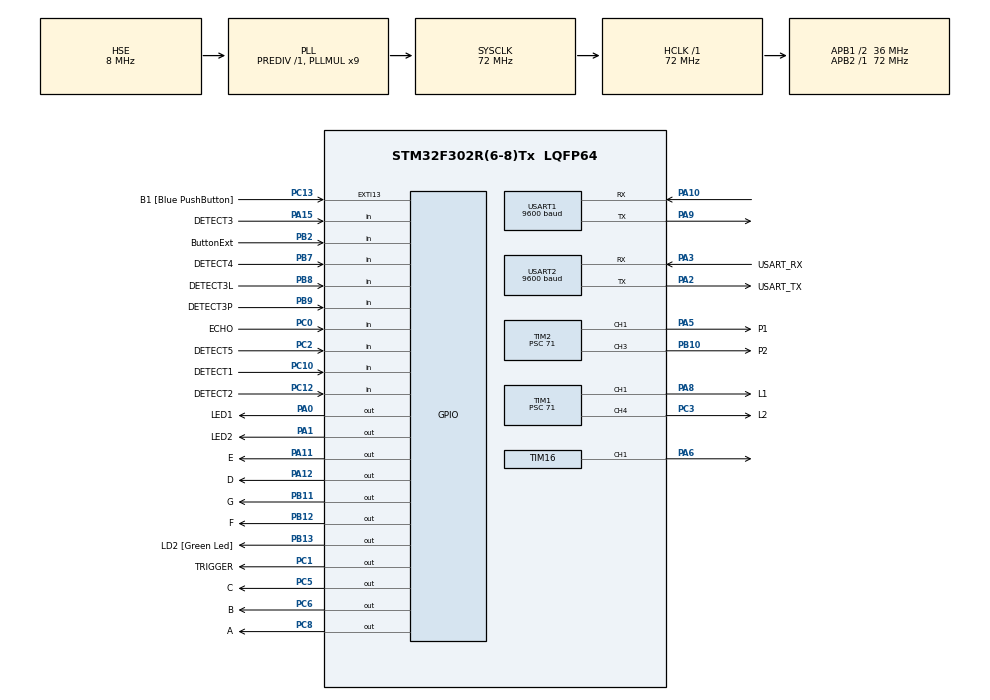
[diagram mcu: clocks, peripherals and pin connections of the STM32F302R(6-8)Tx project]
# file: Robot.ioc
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Mcu.Family=STM32F3
Mcu.Name=STM32F302R(6-8)Tx
Mcu.Package=LQFP64
NVIC.PriorityGroup=NVIC_PRIORITYGROUP_0
NVIC.TIM1_BRK_TIM15_IRQn=true\:0\:0\:false\:false\:true\:true\:true\:true
NVIC.TIM1_TRG_COM_TIM17_IRQn=true\:0\:0\:false\:false\:true\:true\:true\:true
NVIC.USART1_IRQn=true\:0\:0\:false\:false\:true\:true\:true\:true
NVIC.USART2_IRQn=true\:0\:0\:false\:false\:true\:true\:true\:true
PA0.GPIO_Label=LED1
PA0.Signal=GPIO_Output
PA1.GPIO_Label=LED2
PA1.Signal=GPIO_Output
PA10.Mode=Asynchronous
PA10.Signal=USART1_RX
PA11.GPIO_Label=E
PA11.Signal=GPIO_Output
PA12.GPIO_Label=D
PA12.Signal=GPIO_Output
PA13.GPIO_Label=TMS
PA13.Mode=Serial_Wire
PA13.Signal=SYS_JTMS-SWDIO
PA14.GPIO_Label=TCK
PA14.Mode=Serial_Wire
PA14.Signal=SYS_JTCK-SWCLK
PA15.GPIO_Label=DETECT3
PA15.Signal=GPIO_Input
PA2.GPIO_Label=USART_TX
PA2.GPIO_Mode=GPIO_MODE_AF_PP
PA2.GPIO_PuPd=GPIO_NOPULL
PA2.GPIO_Speed=GPIO_SPEED_FREQ_LOW
PA2.Mode=Asynchronous
PA2.Signal=USART2_TX
PA3.GPIO_Label=USART_RX
PA3.GPIO_Mode=GPIO_MODE_AF_PP
PA3.GPIO_PuPd=GPIO_NOPULL
PA3.GPIO_Speed=GPIO_SPEED_FREQ_LOW
PA3.Mode=Asynchronous
PA3.Signal=USART2_RX
PA5.GPIO_Label=P1
PA5.Signal=S_TIM2_CH1_ETR
PA6.Signal=S_TIM16_CH1
PA8.GPIO_Label=L1
PA8.Signal=S_TIM1_CH1
PA9.Mode=Asynchronous
PA9.Signal=USART1_TX
PB10.GPIO_Label=P2
PB10.Signal=S_TIM2_CH3
PB11.GPIO_Label=G
PB11.Signal=GPIO_Output
PB12.GPIO_Label=F
PB12.Signal=GPIO_Output
PB13.GPIO_Label=LD2 [Green Led]
PB13.Signal=GPIO_Output
PB2.GPIO_Label=ButtonExt
PB2.Signal=GPIO_Input
PB3.GPIO_Label=SWO
PB3.Mode=Trace_Asynchronous_SW
PB3.Signal=SYS_JTDO-TRACESWO
PB7.GPIO_Label=DETECT4
PB7.Signal=GPIO_Input
PB8.GPIO_Label=DETECT3L
PB8.Signal=GPIO_Input
PB9.GPIO_Label=DETECT3P
PB9.Signal=GPIO_Input
PC0.GPIO_Label=ECHO
PC0.Signal=GPIO_Input
PC1.GPIO_Label=TRIGGER
PC1.Signal=GPIO_Output
PC10.GPIO_Label=DETECT1
PC10.Signal=GPIO_Input
PC12.GPIO_Label=DETECT2
PC12.Signal=GPIO_Input
PC13.GPIO_Label=B1 [Blue PushButton]
PC13.GPIO_ModeDefaultEXTI=GPIO_MODE_IT_FALLING
PC13.Signal=GPXTI13
PC14\ -\ OSC32_IN.Signal=RCC_OSC32_IN
PC15\ -\ OSC32_OUT.Signal=RCC_OSC32_OUT
PC2.GPIO_Label=DETECT5
PC2.Signal=GPIO_Input
PC3.GPIO_Label=L2
PC3.Signal=S_TIM1_CH4
PC5.GPIO_Label=C
PC5.Signal=GPIO_Output
PC6.GPIO_Label=B
PC6.Signal=GPIO_Output
PC8.GPIO_Label=A
PC8.Signal=GPIO_Output
PF0-OSC_IN.Mode=HSE-External-Oscillator
PF0-OSC_IN.Signal=RCC_OSC_IN
PF1-OSC_OUT.Mode=HSE-External-Oscillator
PF1-OSC_OUT.Signal=RCC_OSC_OUT
ProjectManager.HeapSize=0x200
ProjectManager.StackSize=0x400
ProjectManager.TargetToolchain=STM32CubeIDE
RCC.AHBFreq_Value=72000000
RCC.APB1CLKDivider=RCC_HCLK_DIV2
RCC.APB1Freq_Value=36000000
RCC.APB1TimFreq_Value=72000000
RCC.APB2Freq_Value=72000000
RCC.APB2TimFreq_Value=72000000
RCC.CortexFreq_Value=72000000
RCC.HCLKFreq_Value=72000000
RCC.HSE_VALUE=8000000
RCC.HSI_VALUE=8000000
RCC.LSE_VALUE=32768
RCC.PLLM=8
RCC.PLLMUL=RCC_PLL_MUL9
RCC.PLLN=336
RCC.PLLP=RCC_PLLP_DIV4
RCC.PLLQ=7
RCC.PLLSourceVirtual=RCC_PLLSOURCE_HSE
RCC.SYSCLKFreq_VALUE=72000000
RCC.SYSCLKSourceVirtual=RCC_SYSCLKSOURCE_PLLCLK
RCC.USBFreq_Value=72000000
SH.S_TIM16_CH1.0=TIM16_CH1,PWM Generation1 CH1
SH.S_TIM1_CH1.0=TIM1_CH1,PWM Generation1 CH1
SH.S_TIM1_CH4.0=TIM1_CH4,PWM Generation4 CH4
SH.S_TIM2_CH1_ETR.0=TIM2_CH1,PWM Generation1 CH1
SH.S_TIM2_CH3.0=TIM2_CH3,PWM Generation3 CH3
TIM1.Channel-PWM\ Generation1\ CH1=TIM_CHANNEL_1
TIM1.Channel-PWM\ Generation4\ CH4=TIM_CHANNEL_4
TIM1.Prescaler=71
TIM16.AutoReloadPreload=TIM_AUTORELOAD_PRELOAD_ENABLE
TIM16.Channel=TIM_CHANNEL_1
TIM16.Period=19999
TIM16.Prescaler=71
TIM17.Prescaler=71
TIM2.Channel-PWM\ Generation1\ CH1=TIM_CHANNEL_1
TIM2.Channel-PWM\ Generation3\ CH3=TIM_CHANNEL_3
TIM2.Period=65535
TIM2.Prescaler=71
USART1.BaudRate=9600
USART1.VirtualMode-Asynchronous=VM_ASYNC
USART2.BaudRate=9600
USART2.VirtualMode-Asynchronous=VM_ASYNC
VP_TIM16_VS_ClockSourceINT.Mode=Enable_Timer
VP_TIM17_VS_ClockSourceINT.Mode=Enable_Timer
VP_TIM1_VS_ClockSourceINT.Mode=Internal
board=NUCLEO-F302R8

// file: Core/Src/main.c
/* USER CODE BEGIN Header */
/**
  ******************************************************************************
  * @file           : main.c
  * @brief          : Main program body
  ******************************************************************************
  * @attention
  *
  * Copyright (c) 2024 STMicroelectronics.
  * All rights reserved.
  *
  * This software is licensed under terms that can be found in the LICENSE file
  * in the root directory of this software component.
  * If no LICENSE file comes with this software, it is provided AS-IS.
  *
  ******************************************************************************
  */
/* USER CODE END Header */
#include "main.h"

/* USER CODE BEGIN Includes */
#include <stdio.h>
#include <string.h>
#include <stdlib.h>
#include <time.h>
/* USER CODE END Includes */

TIM_HandleTypeDef htim1;
TIM_HandleTypeDef htim2;
TIM_HandleTypeDef htim16;
TIM_HandleTypeDef htim17;

UART_HandleTypeDef huart1;
UART_HandleTypeDef huart2;

/* USER CODE BEGIN PV */
/*Variables for object detection*/
uint32_t pMillis;
uint32_t Value1 = 0;
uint32_t Value2 = 0;
uint16_t Distance  = 0;  // cm

/* USER CODE END PV */

void SystemClock_Config(void);
static void MX_GPIO_Init(void);
static void MX_USART2_UART_Init(void);
static void MX_USART1_UART_Init(void);
static void MX_TIM1_Init(void);
static void MX_TIM16_Init(void);
static void MX_TIM2_Init(void);
static void MX_TIM17_Init(void);
/* USER CODE BEGIN PFP */
void detect(uint8_t *detect_states);
void detectObstacle(void);
void motor_forward(uint32_t duty_cycle);
void motor_backward(uint32_t duty_cycle);
void motor_stop(void);
void motor_left(uint32_t duty_cycle);
void motor_right(uint32_t duty_cycle);

/*display*/
void display_reset(void);
void display1(void);
void display2(void);
void display3(void);
void display4(void);
void display5(void);
void display6(void);
void countdown(void);

#define TIM_NO htim16
#define TIM_CH_NO TIM_CHANNEL_1

/* zakresy katowe pracy serwomechanizmu */
#define ANGLE_MIN 0
#define ANGLE_MAX 900
/* zakres PWM */
#define PWM_MIN 1100
#define PWM_MAX 2050
#define NUM_SAMPLES 10
#define STEP ((1000 * (PWM_MAX - PWM_MIN)) / (ANGLE_MAX - ANGLE_MIN))

void set_ang(uint16_t ang, uint8_t mode);
void turnover(uint16_t *axle, uint8_t receivedChar);
void detectMotor(void);
void bluetooth(void);
/* USER CODE END PFP */

/* USER CODE BEGIN 0 */
uint8_t detect_states[5];
uint8_t detect3L;
uint8_t detect3P;
uint16_t axle=0;
uint8_t receivedChar;
uint32_t cycle=32768;
/* USER CODE END 0 */

int main(void)
{

  /* MCU Configuration--------------------------------------------------------*/

  /* Reset of all peripherals, Initializes the Flash interface and the Systick. */
  HAL_Init();

  /* Configure the system clock */
  SystemClock_Config();

  /* Initialize all configured peripherals */
  MX_GPIO_Init();
  MX_USART2_UART_Init();
  MX_USART1_UART_Init();
  MX_TIM1_Init();
  MX_TIM16_Init();
  MX_TIM2_Init();
  MX_TIM17_Init();
  /* USER CODE BEGIN 2 */

  HAL_TIM_Base_Start(&htim1);
  HAL_GPIO_WritePin(TRIGGER_GPIO_Port, TRIGGER_Pin, GPIO_PIN_RESET);  // pull the TRIG pin low
  HAL_TIM_PWM_Start(&htim16, TIM_CHANNEL_1);
  HAL_TIM_PWM_Start(&htim1, TIM_CHANNEL_1);
  HAL_TIM_PWM_Start(&htim1, TIM_CHANNEL_4);
  HAL_TIM_PWM_Start(&htim2, TIM_CHANNEL_1);
  HAL_TIM_PWM_Start(&htim2, TIM_CHANNEL_3);
  /* USER CODE END 2 */

  /* Infinite loop */
  /* USER CODE BEGIN WHILE */
  //set_ang(0, 0);

  uint16_t counter=1;
  uint16_t distance;
  set_ang(450, 0);

  /**/

  srand(time(NULL));

  while (1)
  {

    /* USER CODE END WHILE */

    /* USER CODE BEGIN 3 */
	  if(counter>6){
	  	  	        	counter=1;
	  	  	        }
	  	  if (HAL_GPIO_ReadPin(ButtonExt_GPIO_Port, ButtonExt_Pin) == GPIO_PIN_SET)
	  	      {
	  	        counter++;
	  	        HAL_Delay(500);

	  	      }

	  	  	  display_reset();
	  	      switch (counter)
	  	      {
	  	      case 1:
	  	        display_reset();
	  	        display1();
	  	        if (HAL_GPIO_ReadPin(B1_GPIO_Port, B1_Pin) == GPIO_PIN_RESET)
	  	        {
	  	        	//linefollower niezmodyfikowany nie widzi lini jedzie do tyłu
	  	        	countdown();
	  	        	while(1){
	  	        		detect_states[0] = HAL_GPIO_ReadPin(DETECT1_GPIO_Port, DETECT1_Pin);
	  	        		detect_states[1] = HAL_GPIO_ReadPin(DETECT2_GPIO_Port, DETECT2_Pin);
	  	        		detect_states[2] = HAL_GPIO_ReadPin(DETECT3_GPIO_Port, DETECT3_Pin);
	  	        		detect_states[3] = HAL_GPIO_ReadPin(DETECT4_GPIO_Port, DETECT4_Pin);
	  	        		detect_states[4] = HAL_GPIO_ReadPin(DETECT5_GPIO_Port, DETECT5_Pin);

	  	        		if(detect_states[2]==0)
	  	        		{
	  	        			motor_forward(cycle);
	  	        		}
	  	        		else{
	  	        			if(detect_states[1]==0 || detect_states[0]==0)
	  	        			{
	  	        				motor_left(cycle);
	  	        				set_ang(900, 0);
	  	        			}
	  	        			else if(detect_states[3]==0 || detect_states[4]==0){
	  	        				motor_right(cycle);
	  	        				set_ang(0, 0);
	  	        			}
	  	        			else{
	  	        				motor_backward(cycle);
	  	        				set_ang(450, 0);
	  	        			}
	  	        		}
	  	        	}
	  	        }
	  	        break;
	  	    case 2:
	  	   	  	        display_reset();
	  	   	  	        display2();
	  	   	  	        if (HAL_GPIO_ReadPin(B1_GPIO_Port, B1_Pin) == GPIO_PIN_RESET)
	  	   	  	        {
	  	   	  	        	//linefollower
	  	   	  	        	countdown();
	  	   	  	        	while(1){
	  	   	  	        		detect_states[0] = HAL_GPIO_ReadPin(DETECT1_GPIO_Port, DETECT1_Pin);
	  	   	  	        		detect_states[1] = HAL_GPIO_ReadPin(DETECT2_GPIO_Port, DETECT2_Pin);
	  	   	  	        		detect_states[2] = HAL_GPIO_ReadPin(DETECT3_GPIO_Port, DETECT3_Pin);
	  	   	  	        		detect_states[3] = HAL_GPIO_ReadPin(DETECT4_GPIO_Port, DETECT4_Pin);
	  	   	  	        		detect_states[4] = HAL_GPIO_ReadPin(DETECT5_GPIO_Port, DETECT5_Pin);

	  	   	  	        		//pomoc dla lini nalezy dodac nowe if i dodac 2 funkcje slightleft slightright(funkjce zwiazane z motor)
	  	   	  	        		detect3L=HAL_GPIO_ReadPin(DETECT3L_GPIO_Port, DETECT3L_Pin);
	  	   	  	        		detect3P=HAL_GPIO_ReadPin(DETECT3P_GPIO_Port, DETECT3P_Pin);

	  	   	  	        		if(detect_states[2]==0)
	  	   	  	        		{
	  	   	  	        			motor_forward(cycle);
	  	   	  	        		}
	  	   	  	        		else{
	  	   	  	        			if(detect_states[1]==0 || detect_states[0]==0)
	  	   	  	        			{
	  	   	  	        				motor_left(cycle);
	  	   	  	        				set_ang(900, 0);
	  	   	  	        			}
	  	   	  	        			else if(detect_states[3]==0 || detect_states[4]==0){
	  	   	  	        				motor_right(cycle);
	  	   	  	        				set_ang(0, 0);
	  	   	  	        			}
	  	   	  	        			else if(detect3L==0 && (detect_states[1]==1)){
	  	   	  	        				motor_slight_left(cycle);
	  	   	  	        				set_ang(350,0);
	  	   	  	        			}
	  	   	  	        			else if(detect3P==0 && (detect_states[3]==1)){
	  	   	  	        				motor_slight_right(cycle);
	  	   	  	        				set_ang(550,0);
	  	   	  	        			}
	  	   	  	        			else{
	  	   	  	        				motor_backward(cycle);
	  	   	  	        				set_ang(450, 0);
	  	   	  	        			}
	  	   	  	        		}
	  	   	  	        	}
	  	   	  	        }
	  	   	  	        break;
	  	  case 3:
	  	  	  	        display_reset();
	  	  	  	        display3();
	  	  	  	        if (HAL_GPIO_ReadPin(B1_GPIO_Port, B1_Pin) == GPIO_PIN_RESET)
	  	  	  	        {
	  	  	  	        	//linefollower zmodyfikowany niewidzi linii jedzie w prawo
	  	  	  	        	countdown();
	  	  	  	        	while(1){
	  	  	  	        		detect_states[0] = HAL_GPIO_ReadPin(DETECT1_GPIO_Port, DETECT1_Pin);
	  	  	  	        		detect_states[1] = HAL_GPIO_ReadPin(DETECT2_GPIO_Port, DETECT2_Pin);
	  	  	  	        		detect_states[2] = HAL_GPIO_ReadPin(DETECT3_GPIO_Port, DETECT3_Pin);
	  	  	  	        		detect_states[3] = HAL_GPIO_ReadPin(DETECT4_GPIO_Port, DETECT4_Pin);
	  	  	  	        		detect_states[4] = HAL_GPIO_ReadPin(DETECT5_GPIO_Port, DETECT5_Pin);

	  	  	  	        		if(detect_states[2]==0)
	  	  	  	        		{
	  	  	  	        			motor_forward(cycle);
	  	  	  	        		}
	  	  	  	        		else{
	  	  	  	        			if(detect_states[1]==0 || detect_states[0]==0)
	  	  	  	        			{
	  	  	  	        				motor_left(cycle);
	  	  	  	        				set_ang(900, 0);
	  	  	  	        			}
	  	  	  	        			else if(detect_states[3]==0 || detect_states[4]==0){
	  	  	  	        				motor_right(cycle);
	  	  	  	        				set_ang(0, 0);
	  	  	  	        			}
	  	  	  	        			else{
	  	  	  	        			motor_left(cycle);
	  	  	  	        			set_ang(900, 0);
	  	  	  	        			}
	  	  	  	        		}
	  	  	  	        	}
	  	  	  	        }
	  	  	  	        break;
	  	  	  	  	  case 4:
	  		  	        display_reset();
	  		  	        display4();
	  		  	        if (HAL_GPIO_ReadPin(B1_GPIO_Port, B1_Pin) == GPIO_PIN_RESET)
	  		  	        {
	  		  	        //linefollower zmodyfikowany niewidzi linii jedzie w lewo
	  		  	        	countdown();
	  		  	        	while(1){
	  		  	        		detect_states[0] = HAL_GPIO_ReadPin(DETECT1_GPIO_Port, DETECT1_Pin);
	  		  	        		detect_states[1] = HAL_GPIO_ReadPin(DETECT2_GPIO_Port, DETECT2_Pin);
	  		  	        		detect_states[2] = HAL_GPIO_ReadPin(DETECT3_GPIO_Port, DETECT3_Pin);
	  		  	        		detect_states[3] = HAL_GPIO_ReadPin(DETECT4_GPIO_Port, DETECT4_Pin);
	  		  	        		detect_states[4] = HAL_GPIO_ReadPin(DETECT5_GPIO_Port, DETECT5_Pin);

	  		  	        		if(detect_states[2]==0)
	  		  	        		{
	  		  	        			motor_forward(cycle);
	  		  	        		}
	  		  	        		else{
	  		  	        			if(detect_states[1]==0 || detect_states[0]==0)
	  		  	        			{
	  		  	        				motor_left(cycle);
	  		  	        				set_ang(900, 0);
	  		  	        			}
	  		  	        			else if(detect_states[3]==0 || detect_states[4]==0){
	  		  	        				motor_right(cycle);
	  		  	        				set_ang(0, 0);
	  		  	        			}
	  		  	        			else{
	  		  	        				motor_right(cycle);
	  		  	        				set_ang(0, 0);
	  		  	        			}
	  		  	        		}
	  		  	        	}
	  		  	        }
	  		  	        break;
	  	      case 5:
	  	    	  //sterowanie bluetoothem
	  	    	display_reset();
	  	    	display5();
	  	    	if (HAL_GPIO_ReadPin(B1_GPIO_Port, B1_Pin) == GPIO_PIN_RESET){
	  	    		countdown();
	  	    		display_reset();
	  	    		while(1){
	  	    			bluetooth();
	  	    		}
	  	    	}
	  	        break;
	  	      case 6:
	  	    	//sterowanie po kablu
	  	    	display_reset();
	  	    	display6();
	  	    	if (HAL_GPIO_ReadPin(B1_GPIO_Port, B1_Pin) == GPIO_PIN_RESET){
	  	    		countdown();
	  	    		display_reset();
	  	    		while(1){
	  	    			if(HAL_UART_Receive(&huart2, &receivedChar, 1, 0) == HAL_OK) {
	  	    				if (receivedChar == 's') {
	  	    					set_ang(450, 0);
	  	    					motor_backward(cycle);
	  	    				} else if (receivedChar == 'w') {
	  	    					set_ang(450, 0);
	  	    					motor_forward(cycle);
	  	    				} else if (receivedChar == 'a') {
	  	    					set_ang(900, 0);
	  	    					motor_left(cycle);
	  	    				} else if (receivedChar == 'd') {
	  	    					set_ang(0, 0);
	  	    					motor_right(cycle);
	  	    				} else if (receivedChar == 'q') {
	  	    					set_ang(450, 0);
	  	    					motor_stop();
	  	    				}
	  	    				HAL_Delay(100);
	  	    			}
	  	    		}
	  	    	}
	  	        break;
	  	      }
  }
  /* USER CODE END 3 */
}

void SystemClock_Config(void)
{
  RCC_OscInitTypeDef RCC_OscInitStruct = {0};
  RCC_ClkInitTypeDef RCC_ClkInitStruct = {0};
  RCC_PeriphCLKInitTypeDef PeriphClkInit = {0};

  /** Initializes the RCC Oscillators according to the specified parameters
  * in the RCC_OscInitTypeDef structure.
  */
  RCC_OscInitStruct.OscillatorType = RCC_OSCILLATORTYPE_HSE;
  RCC_OscInitStruct.HSEState = RCC_HSE_ON;
  RCC_OscInitStruct.HSEPredivValue = RCC_HSE_PREDIV_DIV1;
  RCC_OscInitStruct.HSIState = RCC_HSI_ON;
  RCC_OscInitStruct.PLL.PLLState = RCC_PLL_ON;
  RCC_OscInitStruct.PLL.PLLSource = RCC_PLLSOURCE_HSE;
  RCC_OscInitStruct.PLL.PLLMUL = RCC_PLL_MUL9;
  if (HAL_RCC_OscConfig(&RCC_OscInitStruct) != HAL_OK)
  {
    Error_Handler();
  }

  /** Initializes the CPU, AHB and APB buses clocks
  */
  RCC_ClkInitStruct.ClockType = RCC_CLOCKTYPE_HCLK|RCC_CLOCKTYPE_SYSCLK
                              |RCC_CLOCKTYPE_PCLK1|RCC_CLOCKTYPE_PCLK2;
  RCC_ClkInitStruct.SYSCLKSource = RCC_SYSCLKSOURCE_PLLCLK;
  RCC_ClkInitStruct.AHBCLKDivider = RCC_SYSCLK_DIV1;
  RCC_ClkInitStruct.APB1CLKDivider = RCC_HCLK_DIV2;
  RCC_ClkInitStruct.APB2CLKDivider = RCC_HCLK_DIV1;

  if (HAL_RCC_ClockConfig(&RCC_ClkInitStruct, FLASH_LATENCY_2) != HAL_OK)
  {
    Error_Handler();
  }
  PeriphClkInit.PeriphClockSelection = RCC_PERIPHCLK_USART1|RCC_PERIPHCLK_TIM1
                              |RCC_PERIPHCLK_TIM16|RCC_PERIPHCLK_TIM17;
  PeriphClkInit.Usart1ClockSelection = RCC_USART1CLKSOURCE_PCLK1;
  PeriphClkInit.Tim1ClockSelection = RCC_TIM1CLK_HCLK;
  PeriphClkInit.Tim16ClockSelection = RCC_TIM16CLK_HCLK;
  PeriphClkInit.Tim17ClockSelection = RCC_TIM17CLK_HCLK;
  if (HAL_RCCEx_PeriphCLKConfig(&PeriphClkInit) != HAL_OK)
  {
    Error_Handler();
  }
}

static void MX_TIM1_Init(void)
{

  TIM_ClockConfigTypeDef sClockSourceConfig = {0};
  TIM_MasterConfigTypeDef sMasterConfig = {0};
  TIM_OC_InitTypeDef sConfigOC = {0};
  TIM_BreakDeadTimeConfigTypeDef sBreakDeadTimeConfig = {0};

  htim1.Instance = TIM1;
  htim1.Init.Prescaler = 71;
  htim1.Init.CounterMode = TIM_COUNTERMODE_UP;
  htim1.Init.Period = 65535;
  htim1.Init.ClockDivision = TIM_CLOCKDIVISION_DIV1;
  htim1.Init.RepetitionCounter = 0;
  htim1.Init.AutoReloadPreload = TIM_AUTORELOAD_PRELOAD_DISABLE;
  if (HAL_TIM_Base_Init(&htim1) != HAL_OK)
  {
    Error_Handler();
  }
  sClockSourceConfig.ClockSource = TIM_CLOCKSOURCE_INTERNAL;
  if (HAL_TIM_ConfigClockSource(&htim1, &sClockSourceConfig) != HAL_OK)
  {
    Error_Handler();
  }
  if (HAL_TIM_PWM_Init(&htim1) != HAL_OK)
  {
    Error_Handler();
  }
  sMasterConfig.MasterOutputTrigger = TIM_TRGO_RESET;
  sMasterConfig.MasterOutputTrigger2 = TIM_TRGO2_RESET;
  sMasterConfig.MasterSlaveMode = TIM_MASTERSLAVEMODE_DISABLE;
  if (HAL_TIMEx_MasterConfigSynchronization(&htim1, &sMasterConfig) != HAL_OK)
  {
    Error_Handler();
  }
  sConfigOC.OCMode = TIM_OCMODE_PWM1;
  sConfigOC.Pulse = 0;
  sConfigOC.OCPolarity = TIM_OCPOLARITY_HIGH;
  sConfigOC.OCNPolarity = TIM_OCNPOLARITY_HIGH;
  sConfigOC.OCFastMode = TIM_OCFAST_DISABLE;
  sConfigOC.OCIdleState = TIM_OCIDLESTATE_RESET;
  sConfigOC.OCNIdleState = TIM_OCNIDLESTATE_RESET;
  if (HAL_TIM_PWM_ConfigChannel(&htim1, &sConfigOC, TIM_CHANNEL_1) != HAL_OK)
  {
    Error_Handler();
  }
  if (HAL_TIM_PWM_ConfigChannel(&htim1, &sConfigOC, TIM_CHANNEL_4) != HAL_OK)
  {
    Error_Handler();
  }
  sBreakDeadTimeConfig.OffStateRunMode = TIM_OSSR_DISABLE;
  sBreakDeadTimeConfig.OffStateIDLEMode = TIM_OSSI_DISABLE;
  sBreakDeadTimeConfig.LockLevel = TIM_LOCKLEVEL_OFF;
  sBreakDeadTimeConfig.DeadTime = 0;
  sBreakDeadTimeConfig.BreakState = TIM_BREAK_DISABLE;
  sBreakDeadTimeConfig.BreakPolarity = TIM_BREAKPOLARITY_HIGH;
  sBreakDeadTimeConfig.BreakFilter = 0;
  sBreakDeadTimeConfig.Break2State = TIM_BREAK2_DISABLE;
  sBreakDeadTimeConfig.Break2Polarity = TIM_BREAK2POLARITY_HIGH;
  sBreakDeadTimeConfig.Break2Filter = 0;
  sBreakDeadTimeConfig.AutomaticOutput = TIM_AUTOMATICOUTPUT_DISABLE;
  if (HAL_TIMEx_ConfigBreakDeadTime(&htim1, &sBreakDeadTimeConfig) != HAL_OK)
  {
    Error_Handler();
  }
  HAL_TIM_MspPostInit(&htim1);

}

static void MX_TIM2_Init(void)
{

  TIM_MasterConfigTypeDef sMasterConfig = {0};
  TIM_OC_InitTypeDef sConfigOC = {0};

  htim2.Instance = TIM2;
  htim2.Init.Prescaler = 71;
  htim2.Init.CounterMode = TIM_COUNTERMODE_UP;
  htim2.Init.Period = 65535;
  htim2.Init.ClockDivision = TIM_CLOCKDIVISION_DIV1;
  htim2.Init.AutoReloadPreload = TIM_AUTORELOAD_PRELOAD_DISABLE;
  if (HAL_TIM_PWM_Init(&htim2) != HAL_OK)
  {
    Error_Handler();
  }
  sMasterConfig.MasterOutputTrigger = TIM_TRGO_RESET;
  sMasterConfig.MasterSlaveMode = TIM_MASTERSLAVEMODE_DISABLE;
  if (HAL_TIMEx_MasterConfigSynchronization(&htim2, &sMasterConfig) != HAL_OK)
  {
    Error_Handler();
  }
  sConfigOC.OCMode = TIM_OCMODE_PWM1;
  sConfigOC.Pulse = 0;
  sConfigOC.OCPolarity = TIM_OCPOLARITY_HIGH;
  sConfigOC.OCFastMode = TIM_OCFAST_DISABLE;
  if (HAL_TIM_PWM_ConfigChannel(&htim2, &sConfigOC, TIM_CHANNEL_1) != HAL_OK)
  {
    Error_Handler();
  }
  if (HAL_TIM_PWM_ConfigChannel(&htim2, &sConfigOC, TIM_CHANNEL_3) != HAL_OK)
  {
    Error_Handler();
  }
  HAL_TIM_MspPostInit(&htim2);

}

static void MX_TIM16_Init(void)
{

  TIM_OC_InitTypeDef sConfigOC = {0};
  TIM_BreakDeadTimeConfigTypeDef sBreakDeadTimeConfig = {0};

  htim16.Instance = TIM16;
  htim16.Init.Prescaler = 71;
  htim16.Init.CounterMode = TIM_COUNTERMODE_UP;
  htim16.Init.Period = 19999;
  htim16.Init.ClockDivision = TIM_CLOCKDIVISION_DIV1;
  htim16.Init.RepetitionCounter = 0;
  htim16.Init.AutoReloadPreload = TIM_AUTORELOAD_PRELOAD_ENABLE;
  if (HAL_TIM_Base_Init(&htim16) != HAL_OK)
  {
    Error_Handler();
  }
  if (HAL_TIM_PWM_Init(&htim16) != HAL_OK)
  {
    Error_Handler();
  }
  sConfigOC.OCMode = TIM_OCMODE_PWM1;
  sConfigOC.Pulse = 0;
  sConfigOC.OCPolarity = TIM_OCPOLARITY_HIGH;
  sConfigOC.OCNPolarity = TIM_OCNPOLARITY_HIGH;
  sConfigOC.OCFastMode = TIM_OCFAST_DISABLE;
  sConfigOC.OCIdleState = TIM_OCIDLESTATE_RESET;
  sConfigOC.OCNIdleState = TIM_OCNIDLESTATE_RESET;
  if (HAL_TIM_PWM_ConfigChannel(&htim16, &sConfigOC, TIM_CHANNEL_1) != HAL_OK)
  {
    Error_Handler();
  }
  sBreakDeadTimeConfig.OffStateRunMode = TIM_OSSR_DISABLE;
  sBreakDeadTimeConfig.OffStateIDLEMode = TIM_OSSI_DISABLE;
  sBreakDeadTimeConfig.LockLevel = TIM_LOCKLEVEL_OFF;
  sBreakDeadTimeConfig.DeadTime = 0;
  sBreakDeadTimeConfig.BreakState = TIM_BREAK_DISABLE;
  sBreakDeadTimeConfig.BreakPolarity = TIM_BREAKPOLARITY_HIGH;
  sBreakDeadTimeConfig.BreakFilter = 0;
  sBreakDeadTimeConfig.AutomaticOutput = TIM_AUTOMATICOUTPUT_DISABLE;
  if (HAL_TIMEx_ConfigBreakDeadTime(&htim16, &sBreakDeadTimeConfig) != HAL_OK)
  {
    Error_Handler();
  }
  HAL_TIM_MspPostInit(&htim16);

}

static void MX_TIM17_Init(void)
{

  htim17.Instance = TIM17;
  htim17.Init.Prescaler = 71;
  htim17.Init.CounterMode = TIM_COUNTERMODE_UP;
  htim17.Init.Period = 65535;
  htim17.Init.ClockDivision = TIM_CLOCKDIVISION_DIV1;
  htim17.Init.RepetitionCounter = 0;
  htim17.Init.AutoReloadPreload = TIM_AUTORELOAD_PRELOAD_DISABLE;
  if (HAL_TIM_Base_Init(&htim17) != HAL_OK)
  {
    Error_Handler();
  }

}

static void MX_USART1_UART_Init(void)
{

  huart1.Instance = USART1;
  huart1.Init.BaudRate = 9600;
  huart1.Init.WordLength = UART_WORDLENGTH_8B;
  huart1.Init.StopBits = UART_STOPBITS_1;
  huart1.Init.Parity = UART_PARITY_NONE;
  huart1.Init.Mode = UART_MODE_TX_RX;
  huart1.Init.HwFlowCtl = UART_HWCONTROL_NONE;
  huart1.Init.OverSampling = UART_OVERSAMPLING_16;
  huart1.Init.OneBitSampling = UART_ONE_BIT_SAMPLE_DISABLE;
  huart1.AdvancedInit.AdvFeatureInit = UART_ADVFEATURE_NO_INIT;
  if (HAL_UART_Init(&huart1) != HAL_OK)
  {
    Error_Handler();
  }

}

static void MX_USART2_UART_Init(void)
{

  huart2.Instance = USART2;
  huart2.Init.BaudRate = 9600;
  huart2.Init.WordLength = UART_WORDLENGTH_8B;
  huart2.Init.StopBits = UART_STOPBITS_1;
  huart2.Init.Parity = UART_PARITY_NONE;
  huart2.Init.Mode = UART_MODE_TX_RX;
  huart2.Init.HwFlowCtl = UART_HWCONTROL_NONE;
  huart2.Init.OverSampling = UART_OVERSAMPLING_16;
  huart2.Init.OneBitSampling = UART_ONE_BIT_SAMPLE_DISABLE;
  huart2.AdvancedInit.AdvFeatureInit = UART_ADVFEATURE_NO_INIT;
  if (HAL_UART_Init(&huart2) != HAL_OK)
  {
    Error_Handler();
  }

}

static void MX_GPIO_Init(void)
{
  GPIO_InitTypeDef GPIO_InitStruct = {0};

  /* GPIO Ports Clock Enable */
  __HAL_RCC_GPIOC_CLK_ENABLE();
  __HAL_RCC_GPIOF_CLK_ENABLE();
  __HAL_RCC_GPIOA_CLK_ENABLE();
  __HAL_RCC_GPIOB_CLK_ENABLE();

  /*Configure GPIO pin Output Level */
  HAL_GPIO_WritePin(GPIOC, TRIGGER_Pin|C_Pin|B_Pin|A_Pin, GPIO_PIN_RESET);

  /*Configure GPIO pin Output Level */
  HAL_GPIO_WritePin(GPIOA, LED1_Pin|LED2_Pin|E_Pin|D_Pin, GPIO_PIN_RESET);

  /*Configure GPIO pin Output Level */
  HAL_GPIO_WritePin(GPIOB, G_Pin|F_Pin|LD2_Pin, GPIO_PIN_RESET);

  /*Configure GPIO pin : B1_Pin */
  GPIO_InitStruct.Pin = B1_Pin;
  GPIO_InitStruct.Mode = GPIO_MODE_IT_FALLING;
  GPIO_InitStruct.Pull = GPIO_NOPULL;
  HAL_GPIO_Init(B1_GPIO_Port, &GPIO_InitStruct);

  /*Configure GPIO pins : ECHO_Pin DETECT5_Pin DETECT1_Pin DETECT2_Pin */
  GPIO_InitStruct.Pin = ECHO_Pin|DETECT5_Pin|DETECT1_Pin|DETECT2_Pin;
  GPIO_InitStruct.Mode = GPIO_MODE_INPUT;
  GPIO_InitStruct.Pull = GPIO_NOPULL;
  HAL_GPIO_Init(GPIOC, &GPIO_InitStruct);

  /*Configure GPIO pins : TRIGGER_Pin C_Pin B_Pin A_Pin */
  GPIO_InitStruct.Pin = TRIGGER_Pin|C_Pin|B_Pin|A_Pin;
  GPIO_InitStruct.Mode = GPIO_MODE_OUTPUT_PP;
  GPIO_InitStruct.Pull = GPIO_NOPULL;
  GPIO_InitStruct.Speed = GPIO_SPEED_FREQ_LOW;
  HAL_GPIO_Init(GPIOC, &GPIO_InitStruct);

  /*Configure GPIO pins : LED1_Pin LED2_Pin E_Pin D_Pin */
  GPIO_InitStruct.Pin = LED1_Pin|LED2_Pin|E_Pin|D_Pin;
  GPIO_InitStruct.Mode = GPIO_MODE_OUTPUT_PP;
  GPIO_InitStruct.Pull = GPIO_NOPULL;
  GPIO_InitStruct.Speed = GPIO_SPEED_FREQ_LOW;
  HAL_GPIO_Init(GPIOA, &GPIO_InitStruct);

  /*Configure GPIO pins : ButtonExt_Pin DETECT4_Pin DETECT3L_Pin DETECT3P_Pin */
  GPIO_InitStruct.Pin = ButtonExt_Pin|DETECT4_Pin|DETECT3L_Pin|DETECT3P_Pin;
  GPIO_InitStruct.Mode = GPIO_MODE_INPUT;
  GPIO_InitStruct.Pull = GPIO_NOPULL;
  HAL_GPIO_Init(GPIOB, &GPIO_InitStruct);

  /*Configure GPIO pins : G_Pin F_Pin LD2_Pin */
  GPIO_InitStruct.Pin = G_Pin|F_Pin|LD2_Pin;
  GPIO_InitStruct.Mode = GPIO_MODE_OUTPUT_PP;
  GPIO_InitStruct.Pull = GPIO_NOPULL;
  GPIO_InitStruct.Speed = GPIO_SPEED_FREQ_LOW;
  HAL_GPIO_Init(GPIOB, &GPIO_InitStruct);

  /*Configure GPIO pin : DETECT3_Pin */
  GPIO_InitStruct.Pin = DETECT3_Pin;
  GPIO_InitStruct.Mode = GPIO_MODE_INPUT;
  GPIO_InitStruct.Pull = GPIO_NOPULL;
  HAL_GPIO_Init(DETECT3_GPIO_Port, &GPIO_InitStruct);

}

/* USER CODE BEGIN 4 */

void detectObstacle(void){
	__HAL_TIM_SET_COUNTER(&htim1, 0);
	while (__HAL_TIM_GET_COUNTER (&htim1) < 10);  // wait for 10 us
	HAL_GPIO_WritePin(TRIGGER_GPIO_Port, TRIGGER_Pin, GPIO_PIN_RESET);  // pull the TRIG p
	pMillis = HAL_GetTick(); // used this to avoid infinite while loop  (for timeout)
	// wait for the echo pin to go high
	while (!(HAL_GPIO_ReadPin (ECHO_GPIO_Port, ECHO_Pin)) && pMillis + 10 >  HAL_GetTick());
	Value1 = __HAL_TIM_GET_COUNTER (&htim1);

	pMillis = HAL_GetTick(); // used this to avoid infinite while loop (for timeout)
	// wait for the echo pin to go low
	while ((HAL_GPIO_ReadPin (ECHO_GPIO_Port, ECHO_Pin)) && pMillis + 50 > HAL_GetTick());
	Value2 = __HAL_TIM_GET_COUNTER (&htim1);

	Distance = (Value2-Value1) /58;
	HAL_Delay(50);

}

void bluetooth(void) { // obsługa sterowania poprzez moduł bluetooth zs-040/hc-06
	while(1){

		if(HAL_UART_Receive(&huart1, &receivedChar, 1, 100) == HAL_OK) {
		        if (receivedChar == 's') {
		        	display1();
		        	set_ang(450, 0);
		            motor_backward(cycle);
		        } else if (receivedChar == 'w') {
		        	display2();
		        	set_ang(450, 0);
		            motor_forward(cycle);
		        } else if (receivedChar == 'a') {
		        	set_ang(900, 0);
		            motor_left(cycle);
		        } else if (receivedChar == 'd') {
		        	set_ang(0, 0);
		            motor_right(cycle);
		        } else if (receivedChar == 'q') {
		        	set_ang(450, 0);
		            motor_stop();
		        }

	}

    }

}

void set_ang(uint16_t ang, uint8_t mode)
{
	uint16_t val;

	if(ang > ANGLE_MAX)
	{
		ang = ANGLE_MAX;
	}
	else if (ang < ANGLE_MIN)
	{
		ang = ANGLE_MIN;
	}

	if(mode)
	{
		val = PWM_MIN + ((ang - ANGLE_MIN) * STEP) / 1000;
	}
	else
	{
		val = PWM_MAX - ((ang - ANGLE_MIN) * STEP) / 1000;
	}

	__HAL_TIM_SET_COMPARE(&TIM_NO, TIM_CH_NO, val);
}

void detectMotor(void){ // obrot serva w zależności od detekcji
    detect(detect_states);

    (detect_states[0] != 0 && detect_states[1] != 0) ? turnover(&axle, 'a') :
    (detect_states[2] != 0 && detect_states[3] != 0 && detect_states[4] != 0) ? turnover(&axle, 'd') : 0;
}

void motor_forward(uint32_t duty_cycle)
{
	__HAL_TIM_SET_COMPARE(&htim1, TIM_CHANNEL_1, 0);
	__HAL_TIM_SET_COMPARE(&htim1, TIM_CHANNEL_4, cycle);
	__HAL_TIM_SET_COMPARE(&htim2, TIM_CHANNEL_1, 0);
	__HAL_TIM_SET_COMPARE(&htim2, TIM_CHANNEL_3, cycle/3);
}
void motor_left(uint32_t duty_cycle)
{
    __HAL_TIM_SET_COMPARE(&htim1, TIM_CHANNEL_1, 0);
    __HAL_TIM_SET_COMPARE(&htim1, TIM_CHANNEL_4, duty_cycle);
    __HAL_TIM_SET_COMPARE(&htim2, TIM_CHANNEL_1, duty_cycle*2/3);
    __HAL_TIM_SET_COMPARE(&htim2, TIM_CHANNEL_3, 0);
    HAL_GPIO_WritePin(GPIOB, GPIO_PIN_13, 1);
}
void motor_right(uint32_t duty_cycle)
{
    __HAL_TIM_SET_COMPARE(&htim1, TIM_CHANNEL_1, duty_cycle*2/3);
    __HAL_TIM_SET_COMPARE(&htim1, TIM_CHANNEL_4, 0);
    __HAL_TIM_SET_COMPARE(&htim2, TIM_CHANNEL_1, 0);
    __HAL_TIM_SET_COMPARE(&htim2, TIM_CHANNEL_3, duty_cycle);
    HAL_GPIO_WritePin(GPIOB, GPIO_PIN_13, 1);
}

// Function to move motors backward
void motor_backward(uint32_t duty_cycle)
{
	__HAL_TIM_SET_COMPARE(&htim1, TIM_CHANNEL_1, cycle);
	__HAL_TIM_SET_COMPARE(&htim1, TIM_CHANNEL_4, 0);
	__HAL_TIM_SET_COMPARE(&htim2, TIM_CHANNEL_1, cycle/3);
	__HAL_TIM_SET_COMPARE(&htim2, TIM_CHANNEL_3, 0);

}

// Function to stop motors
void motor_stop(void)
{
    __HAL_TIM_SET_COMPARE(&htim1, TIM_CHANNEL_1, 0);
    __HAL_TIM_SET_COMPARE(&htim1, TIM_CHANNEL_4, 0);
    __HAL_TIM_SET_COMPARE(&htim2, TIM_CHANNEL_1, 0);
    __HAL_TIM_SET_COMPARE(&htim2, TIM_CHANNEL_3, 0);
}
void display1(void){
	HAL_GPIO_WritePin(B_GPIO_Port, B_Pin, GPIO_PIN_SET);
		  HAL_GPIO_WritePin(C_GPIO_Port, C_Pin, GPIO_PIN_SET);
}
void display2(void){
	//2
		  HAL_GPIO_WritePin(A_GPIO_Port, A_Pin, GPIO_PIN_SET);
		  HAL_GPIO_WritePin(B_GPIO_Port, B_Pin, GPIO_PIN_SET);
		  HAL_GPIO_WritePin(G_GPIO_Port, G_Pin, GPIO_PIN_SET);
		  HAL_GPIO_WritePin(E_GPIO_Port, E_Pin, GPIO_PIN_SET);
		  HAL_GPIO_WritePin(D_GPIO_Port, D_Pin, GPIO_PIN_SET);

}
void display3(void){
	//3
		  HAL_GPIO_WritePin(A_GPIO_Port, A_Pin, GPIO_PIN_SET);
		  	  HAL_GPIO_WritePin(B_GPIO_Port, B_Pin, GPIO_PIN_SET);
		  	  HAL_GPIO_WritePin(G_GPIO_Port, G_Pin, GPIO_PIN_SET);
		  	  HAL_GPIO_WritePin(C_GPIO_Port, C_Pin, GPIO_PIN_SET);
		  	  HAL_GPIO_WritePin(D_GPIO_Port, D_Pin, GPIO_PIN_SET);
}
void display4(void){
	//4
		  	HAL_GPIO_WritePin(F_GPIO_Port, F_Pin, GPIO_PIN_SET);
		  	HAL_GPIO_WritePin(G_GPIO_Port, G_Pin, GPIO_PIN_SET);
		  	HAL_GPIO_WritePin(B_GPIO_Port, B_Pin, GPIO_PIN_SET);
		  	HAL_GPIO_WritePin(C_GPIO_Port, C_Pin, GPIO_PIN_SET);
}
void display5(void){
	HAL_GPIO_WritePin(A_GPIO_Port, A_Pin, GPIO_PIN_SET);
	HAL_GPIO_WritePin(F_GPIO_Port, F_Pin, GPIO_PIN_SET);
	HAL_GPIO_WritePin(G_GPIO_Port, G_Pin, GPIO_PIN_SET);
	HAL_GPIO_WritePin(C_GPIO_Port, C_Pin, GPIO_PIN_SET);
	HAL_GPIO_WritePin(D_GPIO_Port, D_Pin, GPIO_PIN_SET);
}
void display6(void){
	HAL_GPIO_WritePin(A_GPIO_Port, A_Pin, GPIO_PIN_SET);
	HAL_GPIO_WritePin(F_GPIO_Port, F_Pin, GPIO_PIN_SET);
	HAL_GPIO_WritePin(G_GPIO_Port, G_Pin, GPIO_PIN_SET);
	HAL_GPIO_WritePin(E_GPIO_Port, E_Pin, GPIO_PIN_SET);
	HAL_GPIO_WritePin(C_GPIO_Port, C_Pin, GPIO_PIN_SET);
	HAL_GPIO_WritePin(D_GPIO_Port, D_Pin, GPIO_PIN_SET);
}
void display_reset(void){
	HAL_GPIO_WritePin(A_GPIO_Port, A_Pin, GPIO_PIN_RESET);
	HAL_GPIO_WritePin(B_GPIO_Port, B_Pin, GPIO_PIN_RESET);
	HAL_GPIO_WritePin(C_GPIO_Port, C_Pin, GPIO_PIN_RESET);
	HAL_GPIO_WritePin(D_GPIO_Port, D_Pin, GPIO_PIN_RESET);
	HAL_GPIO_WritePin(E_GPIO_Port, E_Pin, GPIO_PIN_RESET);
	HAL_GPIO_WritePin(G_GPIO_Port, G_Pin, GPIO_PIN_RESET);
	HAL_GPIO_WritePin(F_GPIO_Port, F_Pin, GPIO_PIN_RESET);

}

void countdown(void){
	display_reset();
	display3();
	HAL_Delay(1000);
	display_reset();
	display2();
	HAL_Delay(1000);
	display_reset();
	display1();
	HAL_Delay(1000);
	display_reset();
}
void motor_slight_left(uint32_t duty_cycle){
    __HAL_TIM_SET_COMPARE(&htim1, TIM_CHANNEL_1, 0);
    __HAL_TIM_SET_COMPARE(&htim1, TIM_CHANNEL_4, duty_cycle);
    __HAL_TIM_SET_COMPARE(&htim2, TIM_CHANNEL_1, (0.65*(duty_cycle*2/3)));
    __HAL_TIM_SET_COMPARE(&htim2, TIM_CHANNEL_3, 0);
    HAL_GPIO_WritePin(GPIOB, GPIO_PIN_13, 1);

}

void motor_slight_right(uint32_t duty_cycle){
    __HAL_TIM_SET_COMPARE(&htim1, TIM_CHANNEL_1, (0.65*(duty_cycle*2/3)));
    __HAL_TIM_SET_COMPARE(&htim1, TIM_CHANNEL_4, 0);
    __HAL_TIM_SET_COMPARE(&htim2, TIM_CHANNEL_1, 0);
    __HAL_TIM_SET_COMPARE(&htim2, TIM_CHANNEL_3, duty_cycle);
    HAL_GPIO_WritePin(GPIOB, GPIO_PIN_13, 1);
}

/* USER CODE END 4 */

void Error_Handler(void)
{
  __disable_irq();
  while (1)
  {
  }
}
